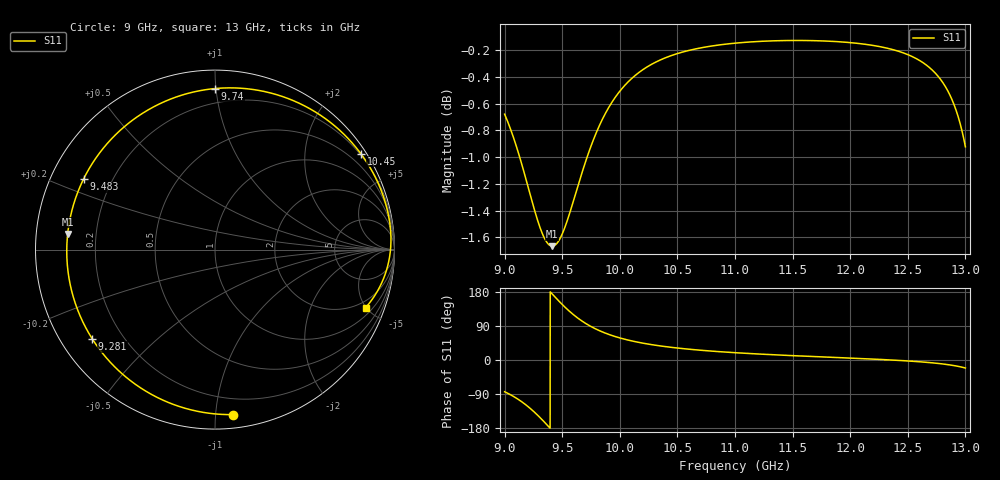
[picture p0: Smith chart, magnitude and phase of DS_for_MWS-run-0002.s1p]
! TOUCHSTONE file generated by CST DESIGN STUDIO
! Date and time: Tue Feb  4 18:12:17 2025
! Project name: C:\Work\MatlabApps\UnitCellOptimizationMatlab\CST\unitcell.cst
! Tree item: Tasks\Sweep1\SPara1\S-Parameters
! Header version: 2024
! Port assignment regex: !\s*Touchstone port\s*([0-9]+)\s*=\s*(CST MWS port|CST DES external port|CST DES block port)\s*(.+)\s* \(\"(.*)\"\)(\s*mode\s*([0-9]+))?.*
! Touchstone port assignment:
! Touchstone port 1 = CST DES external port 1 ("")
# GHz S MA R 50
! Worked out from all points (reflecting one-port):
!   4001 points, 9 GHz to 13 GHz, reference 50 ohm
!   lowest |S11| = -1.7 dB at 9.414 GHz (marker M1), VSWR 10.46, Z = 4.79 + j2.64 ohm
!   phase of S11 starts at -84 deg and turns -297 deg over the sweep
!   S11 on the Smith chart (normalised r, x): 9 GHz: 0.09, -1.11; 9.281 GHz: 0.09, -0.32; 9.483 GHz: 0.10, +0.25; 9.74 GHz: 0.11, +0.99; 10.45 GHz: 0.17, +3.33; 13 GHz: 1.46, -4.94
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9  0.9247 -83.7
9.02  0.9203 -86.7
9.083  0.9048 -97.2
9.153  0.8845 -111.1
9.218  0.8642 -126.6
9.281  0.8455 -144.0
9.35  0.8305 -165.3
9.414  0.8255 173.9
9.448  0.827 162.9
9.483  0.8312 151.8
9.5  0.8342 146.6
9.557  0.8472 130.2
9.613  0.8626 115.8
9.673  0.8796 102.5
9.74  0.8973 90.0
9.865  0.9236 72.0
10  0.9432 58.3
10.093  0.9527 51.1
10.197  0.9606 44.6
10.449  0.9726 33.3
10.5  0.9742 31.6
10.723  0.9793 25.2
11  0.983 19.3
11.5  0.9852 11.5
12  0.9834 5.1
12.5  0.9733 -2.5
12.81  0.9494 -10.7
13  0.8992 -21.1
